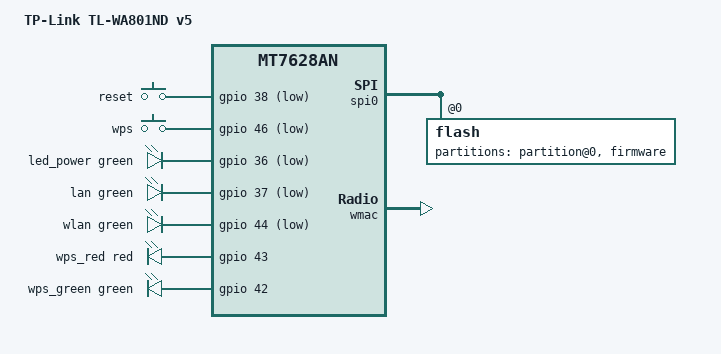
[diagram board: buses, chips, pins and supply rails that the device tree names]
#include <dt-bindings/leds/common.h>

#include "mt7628an_tplink_8m.dtsi"

/ {
	compatible = "tplink,tl-wa801nd-v5", "mediatek,mt7628an-soc";
	model = "TP-Link TL-WA801ND v5";

	chosen {
		bootargs = "console=ttyS0,115200 loglevel=8";
	};

	aliases {
		led-boot = &led_power;
		led-failsafe = &led_power;
		led-running = &led_power;
		led-upgrade = &led_power;
	};

	keys {
		compatible = "gpio-keys";

		reset {
			label = "reset";
			gpios = <&gpio 38 GPIO_ACTIVE_LOW>;
			linux,code = <KEY_RESTART>;
		};

		wps {
			label = "wps";
			gpios = <&gpio 46 GPIO_ACTIVE_LOW>;
			linux,code = <KEY_WPS_BUTTON>;
		};
	};

	leds {
		compatible = "gpio-leds";

		led_power: power {
			function = LED_FUNCTION_POWER;
			color = <LED_COLOR_ID_GREEN>;
			gpios = <&gpio 36 GPIO_ACTIVE_LOW>;
		};

		lan {
			function = LED_FUNCTION_LAN;
			color = <LED_COLOR_ID_GREEN>;
			gpios = <&gpio 37 GPIO_ACTIVE_LOW>;
		};

		wlan {
			function = LED_FUNCTION_WLAN;
			color = <LED_COLOR_ID_GREEN>;
			gpios = <&gpio 44 GPIO_ACTIVE_LOW>;
			linux,default-trigger = "phy0tpt";
		};

		wps_red {
			function = LED_FUNCTION_WPS;
			color = <LED_COLOR_ID_RED>;
			gpios = <&gpio 43 GPIO_ACTIVE_HIGH>;
		};

		wps_green {
			function = LED_FUNCTION_WPS;
			color = <LED_COLOR_ID_GREEN>;
			gpios = <&gpio 42 GPIO_ACTIVE_HIGH>;
		};
	};
};

&ehci {
	status = "disabled";
};

&ohci {
	status = "disabled";
};

&state_default {
	gpio {
		groups = "p0led_an", "p1led_an", "perst", "refclk",
				"uart1", "wdt", "wled_an";
		function = "gpio";
	};

	lna {
		groups = "uart1";
		function = "sw_r";
	};

	pa {
		groups = "i2s";
		function = "antenna";
	};
};

&spi0 {
	flash@0 {
		partitions {
			/delete-node/ partition@7c0000; // This removes the "config" node 
            /delete-node/ partition@7d0000; // This removes the "factory" node
			partition@0 {
				nvmem-layout {
					compatible = "fixed-layout";
					#address-cells = <1>;
					#size-cells = <1>;

					/* MAC address at 0x1ebf0 inside the boot partition: relocated manually */
					macaddr_boot_part: macaddr@0x1ebf0 {
						reg = <0x1ebf0 0x6>;
					};

					/* EEPROM/calibration at 0x1EC00 inside the boot partition: relocated manually */
					eeprom_boot_part: eeprom@1ec00 {
						reg = <0x1ec00 0x400>;
					};
				};
			};
			/* Override the firmware partition */
			partition@20000 {
				label = "firmware";
				reg = <0x20000 0x7e0000>;
			};
		};
	};
};

&wmac {
	status = "okay";

	nvmem-cells = <&eeprom_boot_part>, <&macaddr_boot_part 0>;
	nvmem-cell-names = "eeprom", "mac-address";
};

&ethernet {
	nvmem-cells = <&macaddr_boot_part 1>;
	nvmem-cell-names = "mac-address";
};
